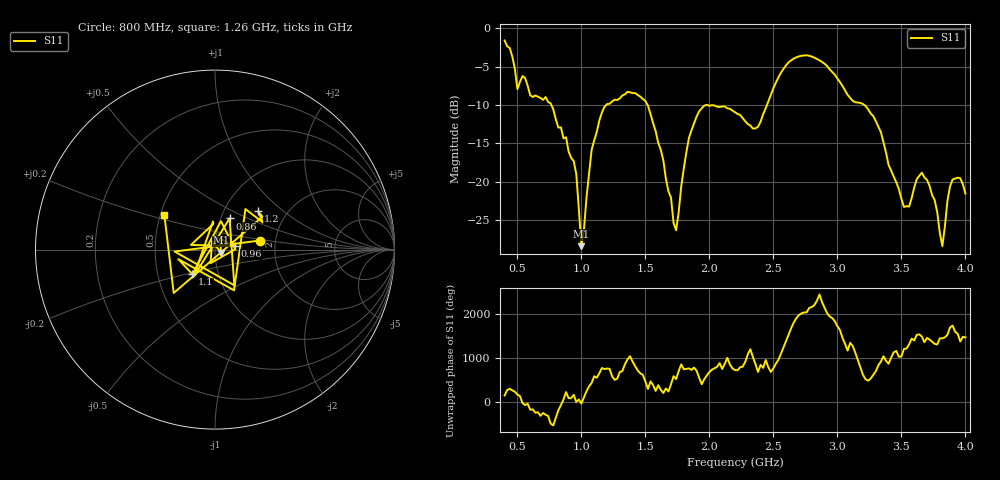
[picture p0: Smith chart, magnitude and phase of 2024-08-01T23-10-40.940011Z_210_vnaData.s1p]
!Created with skrf (http://scikit-rf.org).
# Hz S RI R 50.0
!freq ReS11 ImS11
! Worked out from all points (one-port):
!   181 points, 400 MHz to 4 GHz, reference 50 ohm
!   lowest |S11| = -28.4 dB at 1 GHz (marker M1), VSWR 1.08, Z = 53.5 - j1.84 ohm
!   |S11| at or under -10 dB: 1.517 GHz to 1.975 GHz (457.7 MHz wide, 26.2 % of centre); 1.984 GHz to 2.45 GHz (465.1 MHz wide, 21 % of centre); 3.21 GHz to end of sweep (the widest 3 of 4)
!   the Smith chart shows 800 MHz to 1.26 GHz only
!   S11 on the Smith chart (normalised r, x): 800 MHz: 1.66, +0.18; 860 MHz: 1.10, +0.40; 960 MHz: 1.25, +0.05; 1.1 GHz: 0.75, -0.21; 1.2 GHz: 1.44, +0.68; 1.26 GHz: 0.53, +0.23
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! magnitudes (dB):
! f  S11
! 400 MHz  -1.6
! 500 MHz  -7.9
! 560 MHz  -6.5
! 800 MHz  -11.9
! 860 MHz  -14.3
! 960 MHz  -19.0
! 1 GHz  -28.4
! 1.1 GHz  -14.6
! 1.2 GHz  -9.9
! 1.26 GHz  -9.3
! 1.3 GHz  -9.1
! 1.52 GHz  -10.1
! 1.72 GHz  -25.4
! 1.76 GHz  -23.9
! 1.84 GHz  -14.3
! 1.92 GHz  -10.8
! 2.2 GHz  -10.9
! 2.38 GHz  -12.8
! 2.66 GHz  -3.9
! 2.9 GHz  -4.6
! 3.1 GHz  -9.1
! 3.28 GHz  -11.4
! 3.56 GHz  -23.2
! 3.66 GHz  -18.8
! 3.76 GHz  -22.4
! 3.82 GHz  -28.4
! 3.9 GHz  -19.7
! 4 GHz  -21.5
